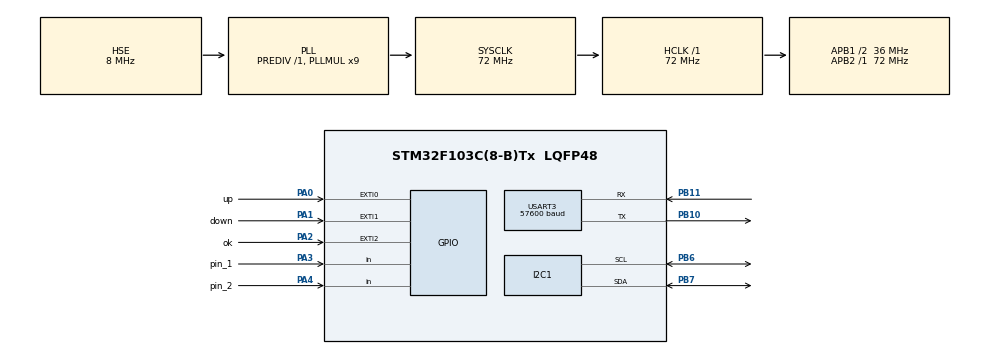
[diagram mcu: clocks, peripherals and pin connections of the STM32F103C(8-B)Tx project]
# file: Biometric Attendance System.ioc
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Mcu.Family=STM32F1
Mcu.Name=STM32F103C(8-B)Tx
Mcu.Package=LQFP48
NVIC.EXTI0_IRQn=true\:0\:0\:true\:false\:true\:true\:true\:true
NVIC.EXTI1_IRQn=true\:0\:0\:true\:false\:true\:true\:true\:true
NVIC.EXTI2_IRQn=true\:0\:0\:true\:false\:true\:true\:true\:true
NVIC.PriorityGroup=NVIC_PRIORITYGROUP_4
PA0-WKUP.GPIO_Label=up
PA0-WKUP.GPIO_ModeDefaultEXTI=GPIO_MODE_IT_RISING
PA0-WKUP.GPIO_PuPd=GPIO_PULLUP
PA0-WKUP.Signal=GPXTI0
PA1.GPIO_Label=down
PA1.GPIO_ModeDefaultEXTI=GPIO_MODE_IT_RISING
PA1.GPIO_PuPd=GPIO_PULLUP
PA1.Signal=GPXTI1
PA13.Mode=Serial_Wire
PA13.Signal=SYS_JTMS-SWDIO
PA14.Mode=Serial_Wire
PA14.Signal=SYS_JTCK-SWCLK
PA2.GPIO_Label=ok
PA2.GPIO_ModeDefaultEXTI=GPIO_MODE_IT_RISING
PA2.GPIO_PuPd=GPIO_PULLUP
PA2.Signal=GPXTI2
PA3.GPIO_Label=pin_1
PA3.GPIO_PuPd=GPIO_PULLUP
PA3.Signal=GPIO_Input
PA4.GPIO_Label=pin_2
PA4.GPIO_PuPd=GPIO_PULLUP
PA4.Signal=GPIO_Input
PB10.Mode=Asynchronous
PB10.Signal=USART3_TX
PB11.Mode=Asynchronous
PB11.Signal=USART3_RX
PB6.Mode=I2C
PB6.Signal=I2C1_SCL
PB7.Mode=I2C
PB7.Signal=I2C1_SDA
PD0-OSC_IN.Mode=HSE-External-Oscillator
PD0-OSC_IN.Signal=RCC_OSC_IN
PD1-OSC_OUT.Mode=HSE-External-Oscillator
PD1-OSC_OUT.Signal=RCC_OSC_OUT
ProjectManager.HeapSize=0x200
ProjectManager.StackSize=0x400
ProjectManager.TargetToolchain=MDK-ARM V5.32
RCC.AHBFreq_Value=72000000
RCC.APB1CLKDivider=RCC_HCLK_DIV2
RCC.APB1Freq_Value=36000000
RCC.APB1TimFreq_Value=72000000
RCC.APB2Freq_Value=72000000
RCC.APB2TimFreq_Value=72000000
RCC.HCLKFreq_Value=72000000
RCC.PLLMUL=RCC_PLL_MUL9
RCC.PLLSourceVirtual=RCC_PLLSOURCE_HSE
RCC.SYSCLKFreq_VALUE=72000000
RCC.SYSCLKSource=RCC_SYSCLKSOURCE_PLLCLK
RCC.USBFreq_Value=72000000
USART3.BaudRate=57600
USART3.StopBits=STOPBITS_2
USART3.VirtualMode=VM_ASYNC
board=custom

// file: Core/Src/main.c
/* USER CODE BEGIN Header */
/**
  ******************************************************************************
  * @file           : main.c
  * @brief          : Main program body
  ******************************************************************************
  * @attention
  *
  * Copyright (c) 2024 STMicroelectronics.
  * All rights reserved.
  *
  * This software is licensed under terms that can be found in the LICENSE file
  * in the root directory of this software component.
  * If no LICENSE file comes with this software, it is provided AS-IS.
  *
  ******************************************************************************
  */
/* USER CODE END Header */
#include "main.h"

/* USER CODE BEGIN Includes */
#include "i2c-lcd.h"
#include "Fingerprint.h"
#include "stdbool.h"
#include "Menu.h"
/* USER CODE END Includes */

/* USER CODE BEGIN PD */
Fingerprint_Packet packet, rpacket;
/* USER CODE END PD */

I2C_HandleTypeDef hi2c1;

UART_HandleTypeDef huart3;

/* USER CODE BEGIN PV */
uint8_t rdata[100];
uint8_t value;
volatile int menu = 1;
volatile int flag = 0;
volatile int idx = 0;
/* USER CODE END PV */

void SystemClock_Config(void);
static void MX_GPIO_Init(void);
static void MX_I2C1_Init(void);
static void MX_USART3_UART_Init(void);

int main(void)
{

  /* MCU Configuration--------------------------------------------------------*/

  /* Reset of all peripherals, Initializes the Flash interface and the Systick. */
  HAL_Init();

  /* Configure the system clock */
  SystemClock_Config();

  /* Initialize all configured peripherals */
  MX_GPIO_Init();
  MX_I2C1_Init();
  MX_USART3_UART_Init();
  /* USER CODE BEGIN 2 */
	lcd_init();
//	if(verifyPassword())
//	{
//			setup_send("Found fingerprint", "sensor!");
//	}
//	else
//	{
//			setup_send("Did not find", "sensor!");
//	}
  /* USER CODE END 2 */

  /* Infinite loop */
  while (1)
  {
		LIB_checkFingerprint();
		if(flag == 1){ //Nguoi dung chon chuc nang tren Menu
			featureMenu(menu);
			flag =0;
		}
		if(idx == 1){ //Thuc hien xu ly tinh nang cua Menu
			idx = 0;
			if(menu == 2){ //Dang ky van tay
				LIB_enrollFingerprint();
			}
			else if(menu == 3){ //Xoa van tay
				LIB_enrollFingerprint(2);
			}
		}
  }
}

void SystemClock_Config(void)
{
  RCC_OscInitTypeDef RCC_OscInitStruct = {0};
  RCC_ClkInitTypeDef RCC_ClkInitStruct = {0};

  /** Initializes the RCC Oscillators according to the specified parameters
  * in the RCC_OscInitTypeDef structure.
  */
  RCC_OscInitStruct.OscillatorType = RCC_OSCILLATORTYPE_HSE;
  RCC_OscInitStruct.HSEState = RCC_HSE_ON;
  RCC_OscInitStruct.HSEPredivValue = RCC_HSE_PREDIV_DIV1;
  RCC_OscInitStruct.HSIState = RCC_HSI_ON;
  RCC_OscInitStruct.PLL.PLLState = RCC_PLL_ON;
  RCC_OscInitStruct.PLL.PLLSource = RCC_PLLSOURCE_HSE;
  RCC_OscInitStruct.PLL.PLLMUL = RCC_PLL_MUL9;
  if (HAL_RCC_OscConfig(&RCC_OscInitStruct) != HAL_OK)
  {
    Error_Handler();
  }

  /** Initializes the CPU, AHB and APB buses clocks
  */
  RCC_ClkInitStruct.ClockType = RCC_CLOCKTYPE_HCLK|RCC_CLOCKTYPE_SYSCLK
                              |RCC_CLOCKTYPE_PCLK1|RCC_CLOCKTYPE_PCLK2;
  RCC_ClkInitStruct.SYSCLKSource = RCC_SYSCLKSOURCE_PLLCLK;
  RCC_ClkInitStruct.AHBCLKDivider = RCC_SYSCLK_DIV1;
  RCC_ClkInitStruct.APB1CLKDivider = RCC_HCLK_DIV2;
  RCC_ClkInitStruct.APB2CLKDivider = RCC_HCLK_DIV1;

  if (HAL_RCC_ClockConfig(&RCC_ClkInitStruct, FLASH_LATENCY_2) != HAL_OK)
  {
    Error_Handler();
  }
}

static void MX_I2C1_Init(void)
{

  hi2c1.Instance = I2C1;
  hi2c1.Init.ClockSpeed = 100000;
  hi2c1.Init.DutyCycle = I2C_DUTYCYCLE_2;
  hi2c1.Init.OwnAddress1 = 0;
  hi2c1.Init.AddressingMode = I2C_ADDRESSINGMODE_7BIT;
  hi2c1.Init.DualAddressMode = I2C_DUALADDRESS_DISABLE;
  hi2c1.Init.OwnAddress2 = 0;
  hi2c1.Init.GeneralCallMode = I2C_GENERALCALL_DISABLE;
  hi2c1.Init.NoStretchMode = I2C_NOSTRETCH_DISABLE;
  if (HAL_I2C_Init(&hi2c1) != HAL_OK)
  {
    Error_Handler();
  }

}

static void MX_USART3_UART_Init(void)
{

  huart3.Instance = USART3;
  huart3.Init.BaudRate = 57600;
  huart3.Init.WordLength = UART_WORDLENGTH_8B;
  huart3.Init.StopBits = UART_STOPBITS_2;
  huart3.Init.Parity = UART_PARITY_NONE;
  huart3.Init.Mode = UART_MODE_TX_RX;
  huart3.Init.HwFlowCtl = UART_HWCONTROL_NONE;
  huart3.Init.OverSampling = UART_OVERSAMPLING_16;
  if (HAL_UART_Init(&huart3) != HAL_OK)
  {
    Error_Handler();
  }

}

static void MX_GPIO_Init(void)
{
  GPIO_InitTypeDef GPIO_InitStruct = {0};

  /* GPIO Ports Clock Enable */
  __HAL_RCC_GPIOD_CLK_ENABLE();
  __HAL_RCC_GPIOA_CLK_ENABLE();
  __HAL_RCC_GPIOB_CLK_ENABLE();

  /*Configure GPIO pins : up_Pin down_Pin ok_Pin */
  GPIO_InitStruct.Pin = up_Pin|down_Pin|ok_Pin;
  GPIO_InitStruct.Mode = GPIO_MODE_IT_RISING;
  GPIO_InitStruct.Pull = GPIO_PULLUP;
  HAL_GPIO_Init(GPIOA, &GPIO_InitStruct);

  /*Configure GPIO pins : pin_1_Pin pin_2_Pin */
  GPIO_InitStruct.Pin = pin_1_Pin|pin_2_Pin;
  GPIO_InitStruct.Mode = GPIO_MODE_INPUT;
  GPIO_InitStruct.Pull = GPIO_PULLUP;
  HAL_GPIO_Init(GPIOA, &GPIO_InitStruct);

  /* EXTI interrupt init*/
  HAL_NVIC_SetPriority(EXTI0_IRQn, 0, 0);
  HAL_NVIC_EnableIRQ(EXTI0_IRQn);

  HAL_NVIC_SetPriority(EXTI1_IRQn, 0, 0);
  HAL_NVIC_EnableIRQ(EXTI1_IRQn);

  HAL_NVIC_SetPriority(EXTI2_IRQn, 0, 0);
  HAL_NVIC_EnableIRQ(EXTI2_IRQn);

}

/* USER CODE BEGIN 4 */
void HAL_GPIO_EXTI_Callback(uint16_t GPIO_Pin){
	flag = 1;
	if(GPIO_Pin == GPIO_PIN_0){
		(menu == 1)? (menu = 3) : (menu--);
//		featureMenu(menu);
	}
	else if(GPIO_Pin == GPIO_PIN_1){
		(menu == 3)? (menu = 1) : (menu++);
//		featureMenu(menu);
	}

	else if(GPIO_Pin == GPIO_PIN_2){
		idx = 1;
	}

}
/* USER CODE END 4 */

void Error_Handler(void)
{
  __disable_irq();
  while (1)
  {
  }
}
